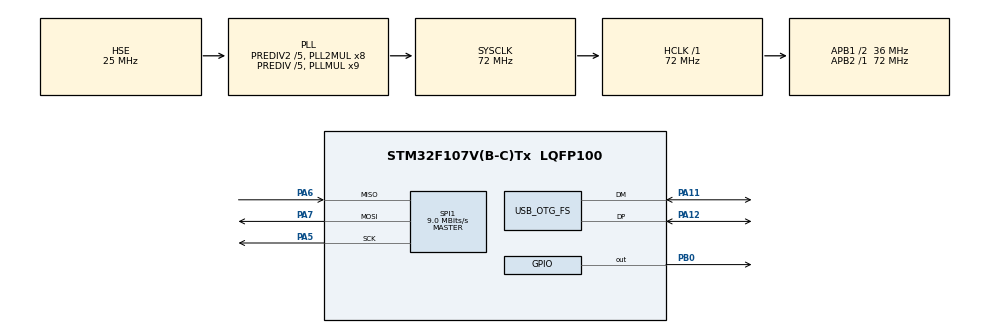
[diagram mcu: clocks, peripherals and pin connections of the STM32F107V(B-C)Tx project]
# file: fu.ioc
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Mcu.Family=STM32F1
Mcu.Name=STM32F107V(B-C)Tx
Mcu.Package=LQFP100
NVIC.OTG_FS_IRQn=true\:0\:0\:false\:false\:true
NVIC.PriorityGroup=NVIC_PRIORITYGROUP_4
OSC_IN.Mode=HSE-External-Oscillator
OSC_IN.Signal=RCC_OSC_IN
OSC_OUT.Mode=HSE-External-Oscillator
OSC_OUT.Signal=RCC_OSC_OUT
PA11.Mode=Host_Only
PA11.Signal=USB_OTG_FS_DM
PA12.Mode=Host_Only
PA12.Signal=USB_OTG_FS_DP
PA13.Mode=Serial_Wire
PA13.Signal=SYS_JTMS-SWDIO
PA14.Mode=Serial_Wire
PA14.Signal=SYS_JTCK-SWCLK
PA5.Mode=Full_Duplex_Master
PA5.Signal=SPI1_SCK
PA6.Mode=Full_Duplex_Master
PA6.Signal=SPI1_MISO
PA7.Mode=Full_Duplex_Master
PA7.Signal=SPI1_MOSI
PB0.GPIO_Speed=GPIO_SPEED_FREQ_HIGH
PB0.PinState=GPIO_PIN_SET
PB0.Signal=GPIO_Output
ProjectManager.HeapSize=0x200
ProjectManager.StackSize=0x400
ProjectManager.TargetToolchain=EWARM
RCC.AHBFreq_Value=72000000
RCC.APB1CLKDivider=RCC_HCLK_DIV2
RCC.APB1Freq_Value=36000000
RCC.APB1TimFreq_Value=72000000
RCC.APB2Freq_Value=72000000
RCC.APB2TimFreq_Value=72000000
RCC.HCLKFreq_Value=72000000
RCC.HSEDivPLL=RCC_HSE_PREDIV_DIV5
RCC.HSE_VALUE=25000000
RCC.HSIState=RCC_HSI_ON
RCC.PLLMUL=RCC_PLL_MUL9
RCC.Prediv1Source=RCC_PREDIV1_SOURCE_PLL2
RCC.Prediv2=RCC_HSE_PREDIV2_DIV5
RCC.SYSCLKFreq_VALUE=72000000
RCC.SYSCLKSource=RCC_SYSCLKSOURCE_PLLCLK
RCC.USBFreq_Value=48000000
SPI1.BaudRatePrescaler=SPI_BAUDRATEPRESCALER_8
SPI1.CLKPhase=SPI_PHASE_1EDGE
SPI1.CLKPolarity=SPI_POLARITY_LOW
SPI1.CalculateBaudRate=9.0 MBits/s
SPI1.Mode=SPI_MODE_MASTER
USB_HOST.USBH_HandleTypeDef-MSC_FS=hUsbHostFS
USB_HOST.VirtualModeFS=Msc
VP_FATFS_VS_USB.Mode=USB
VP_USB_HOST_VS_USB_HOST_MSC_FS.Mode=MSC_FS
board=fu

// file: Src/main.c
/**
  ******************************************************************************
  * File Name          : main.c
  * Description        : Main program body
  ******************************************************************************
  *
  * Copyright (c) 2018 STMicroelectronics International N.V.
  * All rights reserved.
  *
  * Redistribution and use in source and binary forms, with or without
  * modification, are permitted, provided that the following conditions are met:
  *
  * 1. Redistribution of source code must retain the above copyright notice,
  *    this list of conditions and the following disclaimer.
  * 2. Redistributions in binary form must reproduce the above copyright notice,
  *    this list of conditions and the following disclaimer in the documentation
  *    and/or other materials provided with the distribution.
  * 3. Neither the name of STMicroelectronics nor the names of other
  *    contributors to this software may be used to endorse or promote products
  *    derived from this software without specific written permission.
  * 4. This software, including modifications and/or derivative works of this
  *    software, must execute solely and exclusively on microcontroller or
  *    microprocessor devices manufactured by or for STMicroelectronics.
  * 5. Redistribution and use of this software other than as permitted under
  *    this license is void and will automatically terminate your rights under
  *    this license.
  *
  * THIS SOFTWARE IS PROVIDED BY STMICROELECTRONICS AND CONTRIBUTORS "AS IS"
  * AND ANY EXPRESS, IMPLIED OR STATUTORY WARRANTIES, INCLUDING, BUT NOT
  * LIMITED TO, THE IMPLIED WARRANTIES OF MERCHANTABILITY, FITNESS FOR A
  * PARTICULAR PURPOSE AND NON-INFRINGEMENT OF THIRD PARTY INTELLECTUAL PROPERTY
  * RIGHTS ARE DISCLAIMED TO THE FULLEST EXTENT PERMITTED BY LAW. IN NO EVENT
  * SHALL STMICROELECTRONICS OR CONTRIBUTORS BE LIABLE FOR ANY DIRECT, INDIRECT,
  * INCIDENTAL, SPECIAL, EXEMPLARY, OR CONSEQUENTIAL DAMAGES (INCLUDING, BUT NOT
  * LIMITED TO, PROCUREMENT OF SUBSTITUTE GOODS OR SERVICES; LOSS OF USE, DATA,
  * OR PROFITS; OR BUSINESS INTERRUPTION) HOWEVER CAUSED AND ON ANY THEORY OF
  * LIABILITY, WHETHER IN CONTRACT, STRICT LIABILITY, OR TORT (INCLUDING
  * NEGLIGENCE OR OTHERWISE) ARISING IN ANY WAY OUT OF THE USE OF THIS SOFTWARE,
  * EVEN IF ADVISED OF THE POSSIBILITY OF SUCH DAMAGE.
  *
  ******************************************************************************
  */
#include "main.h"
#include "stm32f1xx_hal.h"
#include "fatfs.h"
#include "usb_host.h"

/* USER CODE BEGIN Includes */
#include "SST25VF016B.h"
/* USER CODE END Includes */

SPI_HandleTypeDef hspi1;

/* USER CODE BEGIN PV */
/* Private variables ---------------------------------------------------------*/

/* USER CODE END PV */

void SystemClock_Config(void);
void Error_Handler(void);
static void MX_GPIO_Init(void);
static void MX_SPI1_Init(void);
void MX_USB_HOST_Process(void);

/* USER CODE BEGIN PFP */
/* Private function prototypes -----------------------------------------------*/

/* USER CODE END PFP */

/* USER CODE BEGIN 0 */

FATFS USBDISKFatFs;/* FatFs�ļ�ϵͳ���� */
FIL   MyFile;/* �ļ����� */

char str[20]={0};

#include <stdio.h>

extern ApplicationTypeDef Appli_state;

static void MSC_Application(void)
{
  FRESULT res;                                          /* FatFs function common result code */
  uint32_t byteswritten;                   /* File write/read counts */
  uint8_t wtext[] = "The site is STM32cube.com working with FatFs"; /* File write buffer */
  //  uint8_t rtext[100];                                   /* File read buffer */

  /* Register the file system object to the FatFs module */
  if(f_mount(&USBDISKFatFs, (TCHAR const*)USBH_Path, 0) != FR_OK)
  {
    /* FatFs Initialization Error */
    Error_Handler();
  }
  else
  {
    /* Create and Open a new text file object with write access */
    if(f_open(&MyFile, "STM32.TXT", FA_CREATE_ALWAYS | FA_WRITE) != FR_OK)
    {
      /* 'STM32.TXT' file Open for write Error */
      Error_Handler();
    }
    else
    {
      /* Write data to the text file */
      res = f_write(&MyFile, wtext, sizeof(wtext), (void *)&byteswritten);

      if((byteswritten == 0) || (res != FR_OK))
      {
        /* 'STM32.TXT' file Write or EOF Error */
        Error_Handler();
      }
      else
      {
        /* Close the open text file */
        f_close(&MyFile);
      }
    }
  }
}

void fatfsflash(void)
{
  switch(Appli_state)
  {
  case APPLICATION_READY:
    MSC_Application();
    Appli_state = APPLICATION_DISCONNECT;
    break;

  case APPLICATION_DISCONNECT:
    f_mount(NULL, (TCHAR const*)"", 0);//ж������߼�����

    break;
    //  case  APPLICATION_READY:
    //  case  APPLICATION_DISCONNECT:
  default:
    break;
  }
}

/* USER CODE END 0 */

int main(void)
{

  /* MCU Configuration----------------------------------------------------------*/

  /* Reset of all peripherals, Initializes the Flash interface and the Systick. */
  HAL_Init();

  /* Configure the system clock */
  SystemClock_Config();

  /* Initialize all configured peripherals */
  MX_GPIO_Init();
  MX_SPI1_Init();
  MX_FATFS_Init();
  MX_USB_HOST_Init();

  /* USER CODE BEGIN 2 */

  fatfsflash();

  //MX_USB_DEVICE_Init();
  //
  /* USER CODE END 2 */

  /* Infinite loop */
  while (1)
  {
    MX_USB_HOST_Process();

  }

}

/** System Clock Configuration
*/
void SystemClock_Config(void)
{

  RCC_OscInitTypeDef RCC_OscInitStruct;
  RCC_ClkInitTypeDef RCC_ClkInitStruct;
  RCC_PeriphCLKInitTypeDef PeriphClkInit;

    /**Initializes the CPU, AHB and APB busses clocks
    */
  RCC_OscInitStruct.OscillatorType = RCC_OSCILLATORTYPE_HSE;
  RCC_OscInitStruct.HSEState = RCC_HSE_ON;
  RCC_OscInitStruct.HSEPredivValue = RCC_HSE_PREDIV_DIV5;
  RCC_OscInitStruct.HSIState = RCC_HSI_ON;
  RCC_OscInitStruct.Prediv1Source = RCC_PREDIV1_SOURCE_PLL2;
  RCC_OscInitStruct.PLL.PLLState = RCC_PLL_ON;
  RCC_OscInitStruct.PLL.PLLSource = RCC_PLLSOURCE_HSE;
  RCC_OscInitStruct.PLL.PLLMUL = RCC_PLL_MUL9;
  RCC_OscInitStruct.PLL2.PLL2State = RCC_PLL2_ON;
  RCC_OscInitStruct.PLL2.PLL2MUL = RCC_PLL2_MUL8;
  RCC_OscInitStruct.PLL2.HSEPrediv2Value = RCC_HSE_PREDIV2_DIV5;
  if (HAL_RCC_OscConfig(&RCC_OscInitStruct) != HAL_OK)
  {
    Error_Handler();
  }

    /**Initializes the CPU, AHB and APB busses clocks
    */
  RCC_ClkInitStruct.ClockType = RCC_CLOCKTYPE_HCLK|RCC_CLOCKTYPE_SYSCLK
                              |RCC_CLOCKTYPE_PCLK1|RCC_CLOCKTYPE_PCLK2;
  RCC_ClkInitStruct.SYSCLKSource = RCC_SYSCLKSOURCE_PLLCLK;
  RCC_ClkInitStruct.AHBCLKDivider = RCC_SYSCLK_DIV1;
  RCC_ClkInitStruct.APB1CLKDivider = RCC_HCLK_DIV2;
  RCC_ClkInitStruct.APB2CLKDivider = RCC_HCLK_DIV1;

  if (HAL_RCC_ClockConfig(&RCC_ClkInitStruct, FLASH_LATENCY_2) != HAL_OK)
  {
    Error_Handler();
  }

  PeriphClkInit.PeriphClockSelection = RCC_PERIPHCLK_USB;
  PeriphClkInit.UsbClockSelection = RCC_USBCLKSOURCE_PLL_DIV3;
  if (HAL_RCCEx_PeriphCLKConfig(&PeriphClkInit) != HAL_OK)
  {
    Error_Handler();
  }

    /**Configure the Systick interrupt time
    */
  HAL_SYSTICK_Config(HAL_RCC_GetHCLKFreq()/1000);

    /**Configure the Systick
    */
  HAL_SYSTICK_CLKSourceConfig(SYSTICK_CLKSOURCE_HCLK);

    /**Configure the Systick interrupt time
    */
  __HAL_RCC_PLLI2S_ENABLE();

  /* SysTick_IRQn interrupt configuration */
  HAL_NVIC_SetPriority(SysTick_IRQn, 0, 0);
}

/* SPI1 init function */
static void MX_SPI1_Init(void)
{

  hspi1.Instance = SPI1;
  hspi1.Init.Mode = SPI_MODE_MASTER;
  hspi1.Init.Direction = SPI_DIRECTION_2LINES;
  hspi1.Init.DataSize = SPI_DATASIZE_8BIT;
  hspi1.Init.CLKPolarity = SPI_POLARITY_LOW;
  hspi1.Init.CLKPhase = SPI_PHASE_1EDGE;
  hspi1.Init.NSS = SPI_NSS_SOFT;
  hspi1.Init.BaudRatePrescaler = SPI_BAUDRATEPRESCALER_8;
  hspi1.Init.FirstBit = SPI_FIRSTBIT_MSB;
  hspi1.Init.TIMode = SPI_TIMODE_DISABLE;
  hspi1.Init.CRCCalculation = SPI_CRCCALCULATION_DISABLE;
  hspi1.Init.CRCPolynomial = 10;
  if (HAL_SPI_Init(&hspi1) != HAL_OK)
  {
    Error_Handler();
  }

}

/** Configure pins as
        * Analog
        * Input
        * Output
        * EVENT_OUT
        * EXTI
*/
static void MX_GPIO_Init(void)
{

  GPIO_InitTypeDef GPIO_InitStruct;

  /* GPIO Ports Clock Enable */
  __HAL_RCC_GPIOA_CLK_ENABLE();
  __HAL_RCC_GPIOB_CLK_ENABLE();

  /*Configure GPIO pin Output Level */
  HAL_GPIO_WritePin(GPIOB, GPIO_PIN_0, GPIO_PIN_SET);

  /*Configure GPIO pin : PB0 */
  GPIO_InitStruct.Pin = GPIO_PIN_0;
  GPIO_InitStruct.Mode = GPIO_MODE_OUTPUT_PP;
  GPIO_InitStruct.Speed = GPIO_SPEED_FREQ_HIGH;
  HAL_GPIO_Init(GPIOB, &GPIO_InitStruct);

}

void Error_Handler(void)
{
  while(1)
  {
  }
}

/************************ (C) COPYRIGHT STMicroelectronics *****END OF FILE****/
